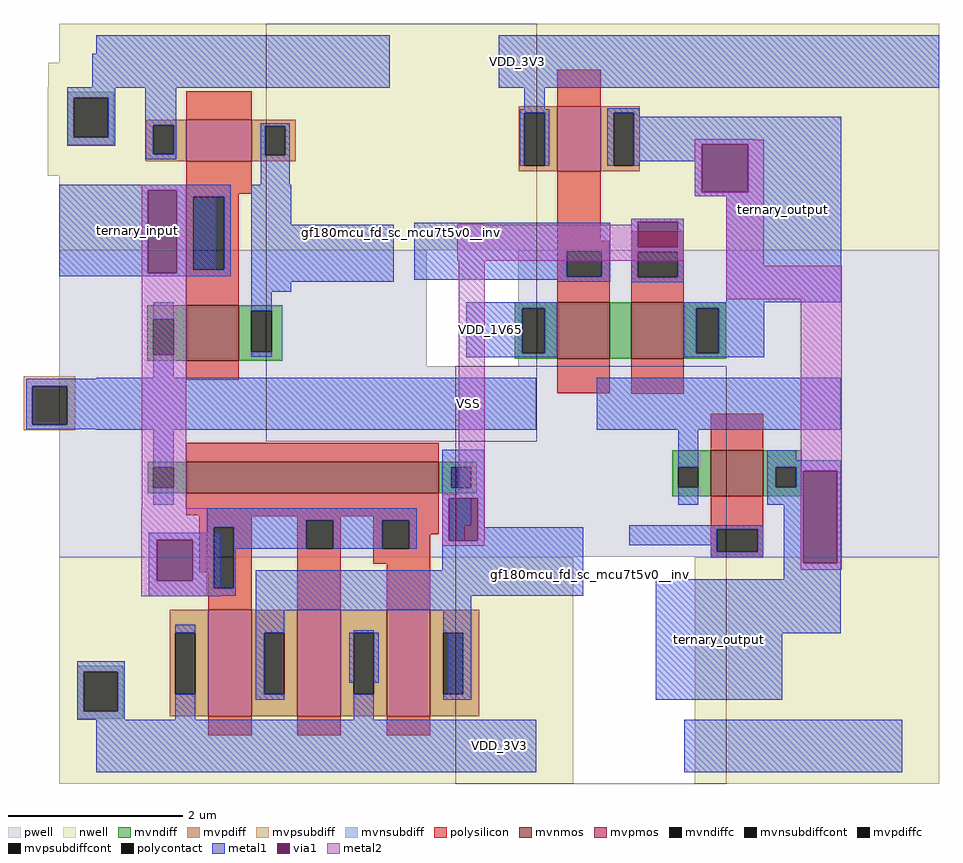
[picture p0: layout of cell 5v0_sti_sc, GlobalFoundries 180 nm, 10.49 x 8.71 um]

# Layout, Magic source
magic
tech gf180mcuD
magscale 1 10
<< nwell >>
rect 1286 788 1624 789
rect -417 643 -392 699
rect -418 440 -392 643
rect -280 643 -193 699
rect -280 509 -152 643
rect -280 496 -193 509
rect -280 440 -194 496
rect 240 270 1624 788
rect 1286 269 1624 270
rect 1064 -952 1624 -434
<< pwell >>
rect 660 269 1222 270
rect 660 -433 1624 269
rect 1064 -434 1624 -433
<< mvnmos >>
rect 749 21 869 150
rect 919 21 1039 150
rect 1101 -294 1221 -189
<< mvpmos >>
rect 749 450 849 599
<< mvndiff >>
rect 652 137 749 150
rect 652 34 669 137
rect 720 34 749 137
rect 652 21 749 34
rect 869 21 919 150
rect 1039 137 1136 150
rect 1039 34 1068 137
rect 1119 34 1136 137
rect 1039 21 1136 34
rect 1013 -227 1101 -189
rect 1013 -273 1026 -227
rect 1072 -273 1101 -227
rect 1013 -294 1101 -273
rect 1221 -227 1309 -189
rect 1221 -273 1250 -227
rect 1296 -273 1309 -227
rect 1221 -294 1309 -273
<< mvpdiff >>
rect 661 585 749 599
rect 661 463 674 585
rect 720 463 749 585
rect 661 450 749 463
rect 849 584 938 599
rect 849 463 878 584
rect 924 463 938 584
rect 849 450 938 463
<< mvndiffc >>
rect 669 34 720 137
rect 1068 34 1119 137
rect 1026 -273 1072 -227
rect 1250 -273 1296 -227
<< mvpdiffc >>
rect 674 463 720 585
rect 878 463 924 584
<< mvpsubdiff >>
rect -473 -42 -355 -19
rect -473 -130 -454 -42
rect -374 -130 -355 -42
rect -473 -143 -355 -130
<< mvnsubdiff >>
rect -372 619 -267 633
rect -372 528 -358 619
rect -280 528 -267 619
rect -372 511 -267 528
rect -350 -696 -245 -682
rect -350 -787 -336 -696
rect -258 -787 -245 -696
rect -350 -804 -245 -787
<< mvpsubdiffcont >>
rect -454 -130 -374 -42
<< mvnsubdiffcont >>
rect -358 528 -280 619
rect -336 -787 -258 -696
<< polysilicon >>
rect 749 599 849 683
rect 749 291 849 450
rect 749 267 869 291
rect 749 209 771 267
rect 851 209 869 267
rect 749 150 869 209
rect 919 266 1039 313
rect 919 208 933 266
rect 1025 208 1039 266
rect 919 150 1039 208
rect 749 -58 869 21
rect 919 -59 1039 21
rect 1101 -189 1221 -105
rect 1101 -370 1221 -294
rect 1101 -421 1114 -370
rect 1208 -421 1221 -370
rect 1101 -434 1221 -421
<< polycontact >>
rect 771 209 851 267
rect 933 208 1025 266
rect 1114 -421 1208 -370
<< metal1 >>
rect -316 643 -269 720
rect -373 619 -264 643
rect 615 642 1624 762
rect -373 528 -358 619
rect -280 528 -264 619
rect 674 592 720 642
rect -373 509 -264 528
rect 663 585 731 592
rect 663 463 674 585
rect 720 463 731 585
rect 864 584 938 595
rect 864 463 878 584
rect 924 575 938 584
rect 924 512 1400 575
rect 924 474 1080 512
rect 924 463 938 474
rect -392 407 -32 420
rect -392 217 -189 407
rect -123 217 -32 407
rect 1064 403 1080 474
rect 1187 403 1400 512
rect 1064 393 1400 403
rect 919 335 1039 342
rect -392 210 -32 217
rect 48 197 374 328
rect 421 267 870 333
rect 421 209 771 267
rect 851 209 870 267
rect 421 202 870 209
rect 749 197 870 202
rect 919 277 933 335
rect 1025 277 1039 335
rect 919 266 1039 277
rect 919 208 933 266
rect 1025 208 1039 266
rect 919 196 1039 208
rect 1136 150 1400 393
rect 540 137 749 150
rect 540 34 669 137
rect 720 34 749 137
rect 540 24 749 34
rect 1039 137 1223 150
rect 1039 34 1068 137
rect 1119 34 1223 137
rect 1039 24 1223 34
rect -467 -42 -280 -25
rect -467 -130 -454 -42
rect -374 -130 -280 -42
rect -467 -141 -280 -130
rect 839 -142 1399 -22
rect 486 -299 582 -188
rect -187 -394 -22 -378
rect -187 -487 -169 -394
rect -86 -487 -22 -394
rect 486 -396 500 -299
rect 567 -365 582 -299
rect 1026 -227 1072 -142
rect 1026 -313 1072 -273
rect 1230 -212 1296 -189
rect 1230 -227 1399 -212
rect 1230 -273 1250 -227
rect 1296 -235 1399 -227
rect 1296 -273 1312 -235
rect 1230 -313 1312 -273
rect 567 -396 809 -365
rect 486 -407 809 -396
rect 914 -370 1221 -360
rect 914 -406 1114 -370
rect -187 -523 -22 -487
rect 487 -522 809 -407
rect 1101 -421 1114 -406
rect 1208 -421 1221 -370
rect 1101 -434 1221 -421
rect 1268 -448 1312 -313
rect 1391 -448 1399 -235
rect 1268 -484 1399 -448
rect -351 -696 -242 -672
rect -351 -787 -336 -696
rect -258 -787 -242 -696
rect 498 -760 552 -522
rect 975 -608 1399 -484
rect 975 -760 1265 -608
rect -351 -806 -242 -787
rect 1040 -926 1539 -806
<< via1 >>
rect -189 217 -123 407
rect 1080 403 1187 512
rect 933 277 1025 335
rect -169 -487 -86 -394
rect 500 -396 567 -299
rect 1312 -448 1391 -235
<< metal2 >>
rect 1064 523 1201 524
rect 1064 512 1222 523
rect -203 407 -101 420
rect -203 217 -189 407
rect -123 217 -101 407
rect 1064 403 1080 512
rect 1187 403 1222 512
rect 1064 393 1222 403
rect 919 335 1039 342
rect 523 328 583 330
rect 919 328 933 335
rect 520 277 933 328
rect 1025 277 1039 335
rect 520 245 1039 277
rect -203 -322 -101 217
rect 523 -289 583 245
rect 1136 234 1222 393
rect 1136 157 1401 234
rect 486 -299 583 -289
rect -204 -394 -53 -322
rect -204 -487 -169 -394
rect -86 -487 -53 -394
rect 486 -396 500 -299
rect 567 -395 583 -299
rect 1307 -235 1401 157
rect 567 -396 582 -395
rect 486 -407 582 -396
rect 1307 -448 1312 -235
rect 1391 -448 1401 -235
rect 1307 -462 1401 -448
rect -204 -523 -53 -487
use 5v0_nti_sc_f  5v0_nti_sc_f_0
transform 1 0 -139 0 1 -26
box -253 -142 589 814
use 5v0_pti_sc  5v0_pti_sc_0
transform 1 0 -139 0 -1 -138
box -253 -142 925 814
use gf180mcu_fd_sc_mcu7t5v0__inv_1  gf180mcu_fd_sc_mcu7t5v0__inv_1_0 ~/pdk/gf180mcuD/libs.ref/gf180mcu_fd_sc_mcu7t5v0/mag
transform 1 0 168 0 1 -82
box -86 -86 534 870
use gf180mcu_fd_sc_mcu7t5v0__inv_1  gf180mcu_fd_sc_mcu7t5v0__inv_1_1
transform 1 0 602 0 -1 -82
box -86 -86 534 870
<< labels >>
rlabel metal1 975 -760 1265 -484 1 ternary_output
port 4 n signal bidirectional
rlabel metal1 -392 210 -32 420 1 ternary_input
port 3 n signal bidirectional
rlabel metal1 540 24 652 150 1 VDD_1V65
port 1 n signal bidirectional
rlabel space -307 642 1624 762 1 VDD_3V3
port 5 n power bidirectional
rlabel space -307 -926 1539 -806 1 VDD_3V3
port 5 n power bidirectional
rlabel space -307 -142 1399 -22 1 VSS
port 6 n ground bidirectional
rlabel metal1 1136 150 1400 575 1 ternary_output
port 4 n signal bidirectional
<< end >>

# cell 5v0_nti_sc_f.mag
magic
tech gf180mcuD
magscale 1 10
<< nwell >>
rect -253 296 589 814
<< pwell >>
rect -253 4 589 296
rect -253 -1 383 4
rect 392 -1 589 4
rect -253 -142 589 -1
<< mvnmos >>
rect 38 43 158 170
<< mvpmos >>
rect 38 499 188 595
<< mvndiff >>
rect -51 138 38 170
rect -51 56 -37 138
rect 9 56 38 138
rect -51 43 38 56
rect 158 157 258 170
rect 158 63 187 157
rect 234 63 258 157
rect 158 43 258 63
<< mvpdiff >>
rect -55 582 38 595
rect -55 515 -37 582
rect 9 515 38 582
rect -55 499 38 515
rect 188 580 289 595
rect 188 513 219 580
rect 265 513 289 580
rect 188 499 289 513
<< mvndiffc >>
rect -37 56 9 138
rect 187 63 234 157
<< mvpdiffc >>
rect -37 515 9 582
rect 219 513 265 580
<< polysilicon >>
rect 38 595 188 660
rect 38 425 188 499
rect 38 418 158 425
rect 38 251 54 418
rect 125 251 158 418
rect 38 170 158 251
rect 38 -1 158 43
<< polycontact >>
rect 54 251 125 418
<< metal1 >>
rect -168 668 504 788
rect -56 582 15 668
rect -56 515 -37 582
rect 9 515 15 582
rect -56 504 15 515
rect 209 580 275 587
rect 209 513 219 580
rect 265 513 275 580
rect 209 446 275 513
rect 38 418 140 446
rect 38 251 54 418
rect 125 251 140 418
rect 38 236 140 251
rect 187 201 279 446
rect -37 138 9 176
rect -37 4 9 56
rect 187 157 234 201
rect 187 52 234 63
rect -56 3 504 4
rect -168 -116 504 3
<< labels >>
rlabel metal1 38 236 140 446 1 ternary_input
port 15 n signal bidirectional
rlabel metal1 -168 668 504 788 1 VDD_3V3
port 14 n power bidirectional
rlabel metal1 -56 -116 504 4 1 VSS
port 16 n ground bidirectional
<< end >>

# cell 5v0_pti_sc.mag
magic
tech gf180mcuD
magscale 1 10
<< nwell >>
rect -253 296 925 814
<< pwell >>
rect -253 -142 925 296
<< mvnmos >>
rect 38 77 616 149
<< mvpmos >>
rect 88 416 188 660
rect 292 416 392 660
rect 497 416 597 660
<< mvndiff >>
rect -50 136 38 149
rect -50 90 -37 136
rect 9 90 38 136
rect -50 77 38 90
rect 616 136 704 149
rect 616 90 645 136
rect 691 90 704 136
rect 616 77 704 90
<< mvpdiff >>
rect 0 609 88 660
rect 0 469 13 609
rect 59 469 88 609
rect 0 416 88 469
rect 188 609 292 660
rect 188 469 217 609
rect 263 469 292 609
rect 188 416 292 469
rect 392 609 497 660
rect 392 469 422 609
rect 468 469 497 609
rect 392 416 497 469
rect 597 609 709 660
rect 597 469 627 609
rect 673 469 709 609
rect 597 416 709 469
<< mvndiffc >>
rect -37 90 9 136
rect 645 90 691 136
<< mvpdiffc >>
rect 13 469 59 609
rect 217 469 263 609
rect 422 469 468 609
rect 627 469 673 609
<< polysilicon >>
rect 88 660 188 704
rect 292 660 392 704
rect 497 660 597 704
rect 88 367 188 416
rect 88 330 101 367
rect 68 227 101 330
rect 147 227 188 367
rect 68 202 188 227
rect 292 276 392 416
rect 497 311 597 416
rect 292 211 313 276
rect 375 211 392 276
rect 292 202 392 211
rect 466 276 597 311
rect 466 211 487 276
rect 549 243 597 276
rect 549 211 616 243
rect 466 202 616 211
rect 68 199 616 202
rect 38 149 616 199
rect 38 33 616 77
<< polycontact >>
rect 101 227 147 367
rect 313 211 375 276
rect 487 211 549 276
<< metal1 >>
rect -168 668 840 788
rect 13 609 59 668
rect 13 450 59 469
rect 197 609 263 622
rect 197 469 217 609
rect 422 609 468 668
rect 411 469 422 583
rect 627 609 676 622
rect 468 469 479 583
rect 673 469 676 609
rect 197 417 263 469
rect 422 463 468 469
rect 627 417 676 469
rect 86 367 151 384
rect 86 227 101 367
rect 147 276 151 367
rect 197 326 676 417
rect 147 227 313 276
rect 86 211 313 227
rect 375 211 487 276
rect 549 211 566 276
rect 86 184 566 211
rect 625 224 676 326
rect -37 136 9 176
rect -37 4 9 90
rect 625 136 691 224
rect 625 90 645 136
rect 625 50 691 90
rect -168 -116 840 4
<< labels >>
rlabel metal1 -168 -116 840 4 1 VSS
port 8 n ground bidirectional
rlabel metal1 -168 668 840 788 1 VDD_3V3
port 9 n power bidirectional
rlabel pwell 86 184 566 276 1 ternary_input
port 10 n signal bidirectional
rlabel nwell 196 325 676 417 1 ternary_output
port 11 n signal bidirectional
<< end >>
